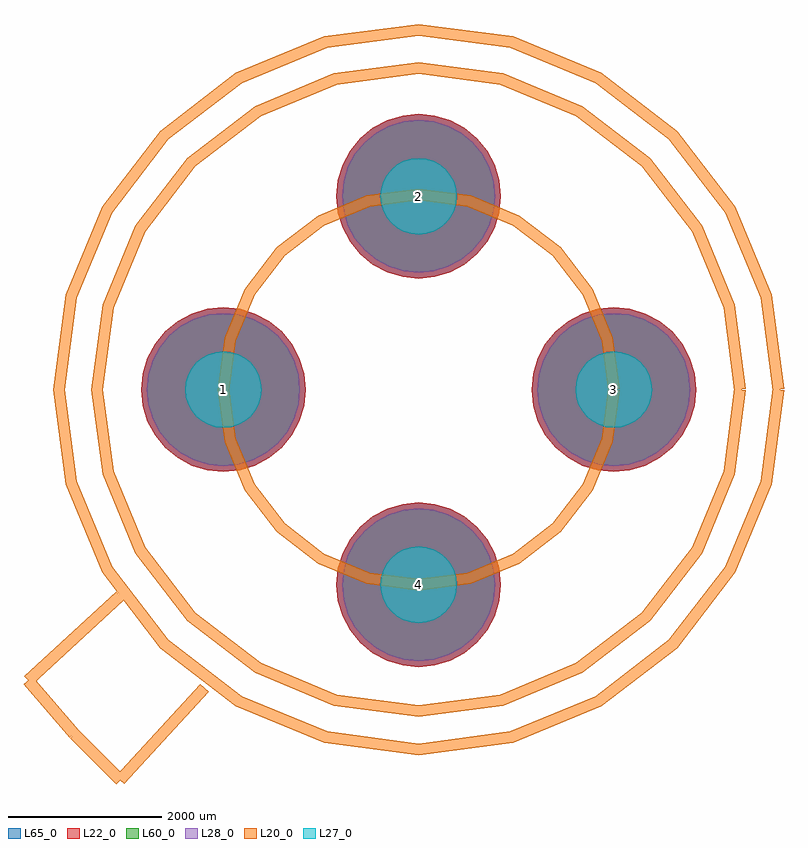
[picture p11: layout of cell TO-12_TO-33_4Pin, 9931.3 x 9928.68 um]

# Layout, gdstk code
import gdstk
lib = gdstk.Library(unit=1e-6, precision=1e-09)
def P(c, l, *ps):  # polygons
    for p in ps: c.add(gdstk.Polygon(p, *l))
L20_0 = (20, 0)
L22_0 = (22, 0)
L27_0 = (27, 0)
L28_0 = (28, 0)
L60_0 = (60, 0)
L65_0 = (65, 0)

to_12_to_33_4pin = lib.new_cell('TO-12_TO-33_4Pin')
P(to_12_to_33_4pin, L22_0, [(1075,-2550),(1054.344,-2340.278),(993.17,-2138.615),(893.83,-1952.762),(760.14,-1789.86),(597.238,-1656.17),(411.385,-1556.83),(209.722,-1495.656),(0,-1475),(-209.722,-1495.656),(-411.385,-1556.83),(-597.238,-1656.17),(-760.14,-1789.86),(-893.83,-1952.762),(-993.17,-2138.615),(-1054.344,-2340.278),(-1075,-2550),(-1054.344,-2759.722),(-993.17,-2961.385),(-893.83,-3147.238),(-760.14,-3310.14),(-597.238,-3443.83),(-411.385,-3543.17),(-209.722,-3604.344),(0,-3625),(209.722,-3604.344),(411.385,-3543.17),(597.238,-3443.83),(760.14,-3310.14),(893.83,-3147.238),(993.17,-2961.385),(1054.344,-2759.722)],
  [(3625,0),(3604.344,209.722),(3543.17,411.385),(3443.83,597.238),(3310.14,760.14),(3147.238,893.83),(2961.385,993.17),(2759.722,1054.344),(2550,1075),(2340.278,1054.344),(2138.615,993.17),(1952.762,893.83),(1789.86,760.14),(1656.17,597.238),(1556.83,411.385),(1495.656,209.722),(1475,0),(1495.656,-209.722),(1556.83,-411.385),(1656.17,-597.238),(1789.86,-760.14),(1952.762,-893.83),(2138.615,-993.17),(2340.278,-1054.344),(2550,-1075),(2759.722,-1054.344),(2961.385,-993.17),(3147.238,-893.83),(3310.14,-760.14),(3443.83,-597.238),(3543.17,-411.385),(3604.344,-209.722)],
  [(1075,2525),(1054.344,2734.722),(993.17,2936.385),(893.83,3122.238),(760.14,3285.14),(597.238,3418.83),(411.385,3518.17),(209.722,3579.344),(0,3600),(-209.722,3579.344),(-411.385,3518.17),(-597.238,3418.83),(-760.14,3285.14),(-893.83,3122.238),(-993.17,2936.385),(-1054.344,2734.722),(-1075,2525),(-1054.344,2315.278),(-993.17,2113.615),(-893.83,1927.762),(-760.14,1764.86),(-597.238,1631.17),(-411.385,1531.83),(-209.722,1470.656),(0,1450),(209.722,1470.656),(411.385,1531.83),(597.238,1631.17),(760.14,1764.86),(893.83,1927.762),(993.17,2113.615),(1054.344,2315.278)],
  [(-1475,0),(-1495.656,209.722),(-1556.83,411.385),(-1656.17,597.238),(-1789.86,760.14),(-1952.762,893.83),(-2138.615,993.17),(-2340.278,1054.344),(-2550,1075),(-2759.722,1054.344),(-2961.385,993.17),(-3147.238,893.83),(-3310.14,760.14),(-3443.83,597.238),(-3543.17,411.385),(-3604.344,209.722),(-3625,0),(-3604.344,-209.722),(-3543.17,-411.385),(-3443.83,-597.238),(-3310.14,-760.14),(-3147.238,-893.83),(-2961.385,-993.17),(-2759.722,-1054.344),(-2550,-1075),(-2340.278,-1054.344),(-2138.615,-993.17),(-1952.762,-893.83),(-1789.86,-760.14),(-1656.17,-597.238),(-1556.83,-411.385),(-1495.656,-209.722)])
P(to_12_to_33_4pin, L27_0, [(499.999,-2550),(490.392,-2452.455),(461.939,-2358.659),(415.734,-2272.215),(353.553,-2196.447),(277.785,-2134.266),(191.341,-2088.061),(97.545,-2059.608),(0,-2050.001),(-97.545,-2059.608),(-191.341,-2088.061),(-277.785,-2134.266),(-353.553,-2196.447),(-415.734,-2272.215),(-461.939,-2358.659),(-490.392,-2452.455),(-499.999,-2550),(-490.392,-2647.545),(-461.939,-2741.341),(-415.734,-2827.785),(-353.553,-2903.553),(-277.785,-2965.734),(-191.341,-3011.939),(-97.545,-3040.392),(0,-3049.999),(97.545,-3040.392),(191.341,-3011.939),(277.785,-2965.734),(353.553,-2903.553),(415.734,-2827.785),(461.939,-2741.341),(490.392,-2647.545)],
  [(3049.999,0),(3040.392,97.545),(3011.939,191.341),(2965.734,277.785),(2903.553,353.553),(2827.785,415.734),(2741.341,461.939),(2647.545,490.392),(2550,499.999),(2452.455,490.392),(2358.659,461.939),(2272.215,415.734),(2196.447,353.553),(2134.266,277.785),(2088.061,191.341),(2059.608,97.545),(2050.001,0),(2059.608,-97.545),(2088.061,-191.341),(2134.266,-277.785),(2196.447,-353.553),(2272.215,-415.734),(2358.659,-461.939),(2452.455,-490.392),(2550,-499.999),(2647.545,-490.392),(2741.341,-461.939),(2827.785,-415.734),(2903.553,-353.553),(2965.734,-277.785),(3011.939,-191.341),(3040.392,-97.545)],
  [(499.999,2525),(490.392,2622.545),(461.939,2716.341),(415.734,2802.785),(353.553,2878.553),(277.785,2940.734),(191.341,2986.939),(97.545,3015.392),(0,3024.999),(-97.545,3015.392),(-191.341,2986.939),(-277.785,2940.734),(-353.553,2878.553),(-415.734,2802.785),(-461.939,2716.341),(-490.392,2622.545),(-499.999,2525),(-490.392,2427.455),(-461.939,2333.659),(-415.734,2247.215),(-353.553,2171.447),(-277.785,2109.266),(-191.341,2063.061),(-97.545,2034.608),(0,2025.001),(97.545,2034.608),(191.341,2063.061),(277.785,2109.266),(353.553,2171.447),(415.734,2247.215),(461.939,2333.659),(490.392,2427.455)],
  [(-2050.001,0),(-2059.608,97.545),(-2088.061,191.341),(-2134.266,277.785),(-2196.447,353.553),(-2272.215,415.734),(-2358.659,461.939),(-2452.455,490.392),(-2550,499.999),(-2647.545,490.392),(-2741.341,461.939),(-2827.785,415.734),(-2903.553,353.553),(-2965.734,277.785),(-3011.939,191.341),(-3040.392,97.545),(-3049.999,0),(-3040.392,-97.545),(-3011.939,-191.341),(-2965.734,-277.785),(-2903.553,-353.553),(-2827.785,-415.734),(-2741.341,-461.939),(-2647.545,-490.392),(-2550,-499.999),(-2452.455,-490.392),(-2358.659,-461.939),(-2272.215,-415.734),(-2196.447,-353.553),(-2134.266,-277.785),(-2088.061,-191.341),(-2059.608,-97.545)])
P(to_12_to_33_4pin, L28_0, [(1000,-2550),(980.785,-2354.91),(923.88,-2167.317),(831.47,-1994.43),(707.107,-1842.893),(555.57,-1718.53),(382.683,-1626.12),(195.09,-1569.215),(0,-1550),(-195.09,-1569.215),(-382.683,-1626.12),(-555.57,-1718.53),(-707.107,-1842.893),(-831.47,-1994.43),(-923.88,-2167.317),(-980.785,-2354.91),(-1000,-2550),(-980.785,-2745.09),(-923.88,-2932.683),(-831.47,-3105.57),(-707.107,-3257.107),(-555.57,-3381.47),(-382.683,-3473.88),(-195.09,-3530.785),(0,-3550),(195.09,-3530.785),(382.683,-3473.88),(555.57,-3381.47),(707.107,-3257.107),(831.47,-3105.57),(923.88,-2932.683),(980.785,-2745.09)],
  [(3550,0),(3530.785,195.09),(3473.88,382.683),(3381.47,555.57),(3257.107,707.107),(3105.57,831.47),(2932.683,923.88),(2745.09,980.785),(2550,1000),(2354.91,980.785),(2167.317,923.88),(1994.43,831.47),(1842.893,707.107),(1718.53,555.57),(1626.12,382.683),(1569.215,195.09),(1550,0),(1569.215,-195.09),(1626.12,-382.683),(1718.53,-555.57),(1842.893,-707.107),(1994.43,-831.47),(2167.317,-923.88),(2354.91,-980.785),(2550,-1000),(2745.09,-980.785),(2932.683,-923.88),(3105.57,-831.47),(3257.107,-707.107),(3381.47,-555.57),(3473.88,-382.683),(3530.785,-195.09)],
  [(1000,2525),(980.785,2720.09),(923.88,2907.683),(831.47,3080.57),(707.107,3232.107),(555.57,3356.47),(382.683,3448.88),(195.09,3505.785),(0,3525),(-195.09,3505.785),(-382.683,3448.88),(-555.57,3356.47),(-707.107,3232.107),(-831.47,3080.57),(-923.88,2907.683),(-980.785,2720.09),(-1000,2525),(-980.785,2329.91),(-923.88,2142.317),(-831.47,1969.43),(-707.107,1817.893),(-555.57,1693.53),(-382.683,1601.12),(-195.09,1544.215),(0,1525),(195.09,1544.215),(382.683,1601.12),(555.57,1693.53),(707.107,1817.893),(831.47,1969.43),(923.88,2142.317),(980.785,2329.91)],
  [(-1550,0),(-1569.215,195.09),(-1626.12,382.683),(-1718.53,555.57),(-1842.893,707.107),(-1994.43,831.47),(-2167.317,923.88),(-2354.91,980.785),(-2550,1000),(-2745.09,980.785),(-2932.683,923.88),(-3105.57,831.47),(-3257.107,707.107),(-3381.47,555.57),(-3473.88,382.683),(-3530.785,195.09),(-3550,0),(-3530.785,-195.09),(-3473.88,-382.683),(-3381.47,-555.57),(-3257.107,-707.107),(-3105.57,-831.47),(-2932.683,-923.88),(-2745.09,-980.785),(-2550,-1000),(-2354.91,-980.785),(-2167.317,-923.88),(-1994.43,-831.47),(-1842.893,-707.107),(-1718.53,-555.57),(-1626.12,-382.683),(-1569.215,-195.09)])
P(to_12_to_33_4pin, L60_0, [(1000,-2550),(980.785,-2354.91),(923.88,-2167.317),(831.47,-1994.43),(707.107,-1842.893),(555.57,-1718.53),(382.683,-1626.12),(195.09,-1569.215),(0,-1550),(-195.09,-1569.215),(-382.683,-1626.12),(-555.57,-1718.53),(-707.107,-1842.893),(-831.47,-1994.43),(-923.88,-2167.317),(-980.785,-2354.91),(-1000,-2550),(-980.785,-2745.09),(-923.88,-2932.683),(-831.47,-3105.57),(-707.107,-3257.107),(-555.57,-3381.47),(-382.683,-3473.88),(-195.09,-3530.785),(0,-3550),(195.09,-3530.785),(382.683,-3473.88),(555.57,-3381.47),(707.107,-3257.107),(831.47,-3105.57),(923.88,-2932.683),(980.785,-2745.09)],
  [(3550,0),(3530.785,195.09),(3473.88,382.683),(3381.47,555.57),(3257.107,707.107),(3105.57,831.47),(2932.683,923.88),(2745.09,980.785),(2550,1000),(2354.91,980.785),(2167.317,923.88),(1994.43,831.47),(1842.893,707.107),(1718.53,555.57),(1626.12,382.683),(1569.215,195.09),(1550,0),(1569.215,-195.09),(1626.12,-382.683),(1718.53,-555.57),(1842.893,-707.107),(1994.43,-831.47),(2167.317,-923.88),(2354.91,-980.785),(2550,-1000),(2745.09,-980.785),(2932.683,-923.88),(3105.57,-831.47),(3257.107,-707.107),(3381.47,-555.57),(3473.88,-382.683),(3530.785,-195.09)],
  [(1000,2525),(980.785,2720.09),(923.88,2907.683),(831.47,3080.57),(707.107,3232.107),(555.57,3356.47),(382.683,3448.88),(195.09,3505.785),(0,3525),(-195.09,3505.785),(-382.683,3448.88),(-555.57,3356.47),(-707.107,3232.107),(-831.47,3080.57),(-923.88,2907.683),(-980.785,2720.09),(-1000,2525),(-980.785,2329.91),(-923.88,2142.317),(-831.47,1969.43),(-707.107,1817.893),(-555.57,1693.53),(-382.683,1601.12),(-195.09,1544.215),(0,1525),(195.09,1544.215),(382.683,1601.12),(555.57,1693.53),(707.107,1817.893),(831.47,1969.43),(923.88,2142.317),(980.785,2329.91)],
  [(-1550,0),(-1569.215,195.09),(-1626.12,382.683),(-1718.53,555.57),(-1842.893,707.107),(-1994.43,831.47),(-2167.317,923.88),(-2354.91,980.785),(-2550,1000),(-2745.09,980.785),(-2932.683,923.88),(-3105.57,831.47),(-3257.107,707.107),(-3381.47,555.57),(-3473.88,382.683),(-3530.785,195.09),(-3550,0),(-3530.785,-195.09),(-3473.88,-382.683),(-3381.47,-555.57),(-3257.107,-707.107),(-3105.57,-831.47),(-2932.683,-923.88),(-2745.09,-980.785),(-2550,-1000),(-2354.91,-980.785),(-2167.317,-923.88),(-1994.43,-831.47),(-1842.893,-707.107),(-1718.53,-555.57),(-1626.12,-382.683),(-1569.215,-195.09)])
P(to_12_to_33_4pin, L65_0, [(1075,-2550),(1054.344,-2340.278),(993.17,-2138.615),(893.83,-1952.762),(760.14,-1789.86),(597.238,-1656.17),(411.385,-1556.83),(209.722,-1495.656),(0,-1475),(-209.722,-1495.656),(-411.385,-1556.83),(-597.238,-1656.17),(-760.14,-1789.86),(-893.83,-1952.762),(-993.17,-2138.615),(-1054.344,-2340.278),(-1075,-2550),(-1054.344,-2759.722),(-993.17,-2961.385),(-893.83,-3147.238),(-760.14,-3310.14),(-597.238,-3443.83),(-411.385,-3543.17),(-209.722,-3604.344),(0,-3625),(209.722,-3604.344),(411.385,-3543.17),(597.238,-3443.83),(760.14,-3310.14),(893.83,-3147.238),(993.17,-2961.385),(1054.344,-2759.722)],
  [(3625,0),(3604.344,209.722),(3543.17,411.385),(3443.83,597.238),(3310.14,760.14),(3147.238,893.83),(2961.385,993.17),(2759.722,1054.344),(2550,1075),(2340.278,1054.344),(2138.615,993.17),(1952.762,893.83),(1789.86,760.14),(1656.17,597.238),(1556.83,411.385),(1495.656,209.722),(1475,0),(1495.656,-209.722),(1556.83,-411.385),(1656.17,-597.238),(1789.86,-760.14),(1952.762,-893.83),(2138.615,-993.17),(2340.278,-1054.344),(2550,-1075),(2759.722,-1054.344),(2961.385,-993.17),(3147.238,-893.83),(3310.14,-760.14),(3443.83,-597.238),(3543.17,-411.385),(3604.344,-209.722)],
  [(1075,2525),(1054.344,2734.722),(993.17,2936.385),(893.83,3122.238),(760.14,3285.14),(597.238,3418.83),(411.385,3518.17),(209.722,3579.344),(0,3600),(-209.722,3579.344),(-411.385,3518.17),(-597.238,3418.83),(-760.14,3285.14),(-893.83,3122.238),(-993.17,2936.385),(-1054.344,2734.722),(-1075,2525),(-1054.344,2315.278),(-993.17,2113.615),(-893.83,1927.762),(-760.14,1764.86),(-597.238,1631.17),(-411.385,1531.83),(-209.722,1470.656),(0,1450),(209.722,1470.656),(411.385,1531.83),(597.238,1631.17),(760.14,1764.86),(893.83,1927.762),(993.17,2113.615),(1054.344,2315.278)],
  [(-1475,0),(-1495.656,209.722),(-1556.83,411.385),(-1656.17,597.238),(-1789.86,760.14),(-1952.762,893.83),(-2138.615,993.17),(-2340.278,1054.344),(-2550,1075),(-2759.722,1054.344),(-2961.385,993.17),(-3147.238,893.83),(-3310.14,760.14),(-3443.83,597.238),(-3543.17,411.385),(-3604.344,209.722),(-3625,0),(-3604.344,-209.722),(-3543.17,-411.385),(-3443.83,-597.238),(-3310.14,-760.14),(-3147.238,-893.83),(-2961.385,-993.17),(-2759.722,-1054.344),(-2550,-1075),(-2340.278,-1054.344),(-2138.615,-993.17),(-1952.762,-893.83),(-1789.86,-760.14),(-1656.17,-597.238),(-1556.83,-411.385),(-1495.656,-209.722)])
to_12_to_33_4pin.add(gdstk.FlexPath([(4700,0),(4539.851,1216.45),(4070.319,2350),(3323.402,3323.402),(2350,4070.319),(1216.45,4539.851),(0,4700),(-1216.45,4539.851),(-2350,4070.319),(-3323.402,3323.402),(-4070.319,2350),(-4539.851,1216.45),(-4700,0),(-4539.851,-1216.45),(-4070.319,-2350),(-3323.402,-3323.402),(-2350,-4070.319),(-1216.45,-4539.851),(0,-4700),(1216.45,-4539.851),(2350,-4070.319),(3323.402,-3323.402),(4070.319,-2350),(4539.851,-1216.45),(4700,0)], 149.998, ends="flush", simple_path=True, layer=20, datatype=0))  # L20_0
to_12_to_33_4pin.add(gdstk.FlexPath([(4200,0),(4056.888,1087.04),(3637.307,2100),(2969.848,2969.848),(2100,3637.307),(1087.04,4056.888),(0,4200),(-1087.04,4056.888),(-2100,3637.307),(-2969.848,2969.848),(-3637.307,2100),(-4056.888,1087.04),(-4200,0),(-4056.888,-1087.04),(-3637.307,-2100),(-2969.848,-2969.848),(-2100,-3637.307),(-1087.04,-4056.888),(0,-4200),(1087.04,-4056.888),(2100,-3637.307),(2969.848,-2969.848),(3637.307,-2100),(4056.888,-1087.04),(4200,0)], 149.998, ends="flush", simple_path=True, layer=20, datatype=0))  # L20_0
to_12_to_33_4pin.add(gdstk.FlexPath([(-5100,-3800),(-3900,-2700)], 149.998, ends="flush", simple_path=True, layer=20, datatype=0))  # L20_0
to_12_to_33_4pin.add(gdstk.FlexPath([(-4500,-4500),(-5100,-3800)], 149.998, ends="flush", simple_path=True, layer=20, datatype=0))  # L20_0
to_12_to_33_4pin.add(gdstk.FlexPath([(-3900,-5100),(-2800,-3900)], 149.998, ends="flush", simple_path=True, layer=20, datatype=0))  # L20_0
to_12_to_33_4pin.add(gdstk.FlexPath([(-4500,-4500),(-3900,-5100)], 149.998, ends="flush", simple_path=True, layer=20, datatype=0))  # L20_0
to_12_to_33_4pin.add(gdstk.FlexPath([(2550,0),(2463.111,659.989),(2208.365,1275),(1803.122,1803.122),(1275,2208.365),(659.989,2463.111),(0,2550),(-659.989,2463.111),(-1275,2208.365),(-1803.122,1803.122),(-2208.365,1275),(-2463.111,659.989),(-2550,0),(-2463.111,-659.989),(-2208.365,-1275),(-1803.122,-1803.122),(-1275,-2208.365),(-659.989,-2463.111),(0,-2550),(659.989,-2463.111),(1275,-2208.365),(1803.122,-1803.122),(2208.365,-1275),(2463.111,-659.989),(2550,0)], 149.998, ends="flush", simple_path=True, layer=20, datatype=0))  # L20_0
to_12_to_33_4pin.add(gdstk.Label('4', (0,-2550), layer=28, texttype=0))
to_12_to_33_4pin.add(gdstk.Label('3', (2550,0), layer=28, texttype=0))
to_12_to_33_4pin.add(gdstk.Label('2', (0,2525), layer=28, texttype=0))
to_12_to_33_4pin.add(gdstk.Label('1', (-2550,0), layer=28, texttype=0))
to_12_to_33_4pin.add(gdstk.Label('type', (-200,-10000), layer=9, texttype=0))
to_12_to_33_4pin.add(gdstk.Label('devicename', (100,7900), layer=9, texttype=0))

lib.write_gds('TO-12_TO-33_4Pin.gds')
